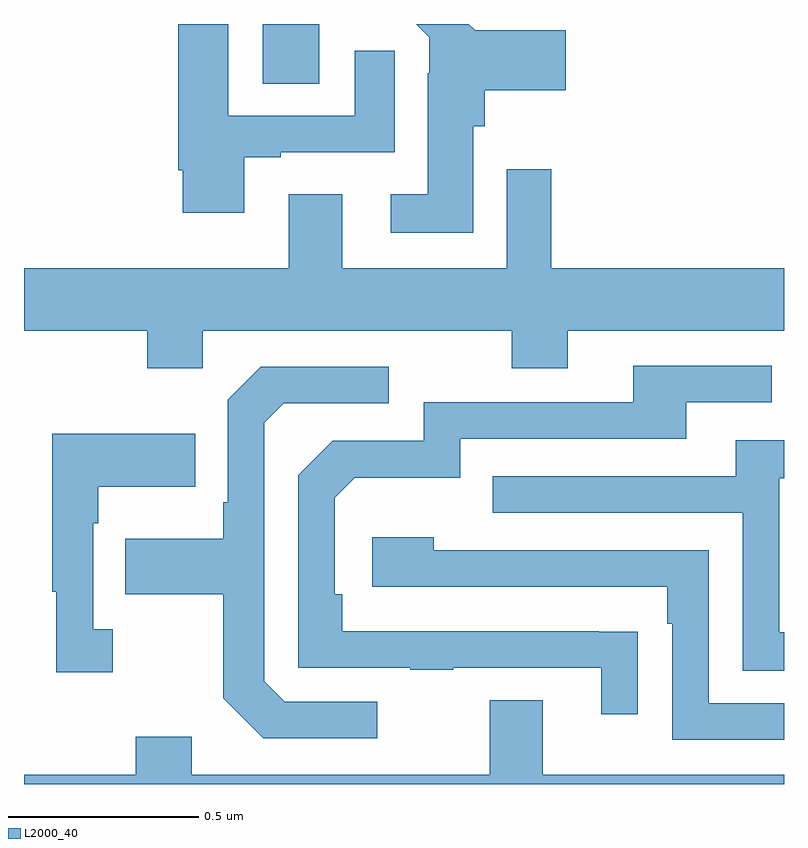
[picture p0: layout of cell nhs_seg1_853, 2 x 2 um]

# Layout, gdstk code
import gdstk
lib = gdstk.Library(unit=1e-6, precision=1e-09)
def R(c, l, rs):  # rectangles x0, y0, x1, y1
    for r in rs: c.add(gdstk.rectangle(r[:2], r[2:], *l))
def P(c, l, *ps):  # polygons
    for p in ps: c.add(gdstk.Polygon(p, *l))
L2000_40 = (2000, 40)

nhs_seg1_853 = lib.new_cell('nhs_seg1_853')
R(nhs_seg1_853, L2000_40, [(121.628,559.042,121.777,559.199)])
P(nhs_seg1_853, L2000_40, [(122.182,558.93),(122.213,558.93),(122.213,559.025),(122.425,559.025),(122.425,559.183),(122.187,559.183),(122.171,559.199),(122.032,559.199),(122.067,559.164),(122.067,559.07),(122.063,559.07),(122.063,558.751),(121.965,558.751),(121.965,558.65),(122.182,558.65)],
  [(121.579,558.849),(121.675,558.849),(121.675,558.861),(121.975,558.861),(121.975,559.129),(121.871,559.129),(121.871,558.957),(121.537,558.957),(121.537,559.199),(121.406,559.199),(121.406,558.814),(121.418,558.814),(121.418,558.702),(121.579,558.702)],
  [(121.47,558.392),(122.284,558.392),(122.284,558.293),(122.431,558.293),(122.431,558.392),(123,558.392),(123,558.556),(122.387,558.556),(122.387,558.817),(122.271,558.817),(122.271,558.556),(121.837,558.556),(121.837,558.751),(121.697,558.751),(121.697,558.556),(121,558.556),(121,558.392),(121.324,558.392),(121.324,558.293),(121.47,558.293)],
  [(122.615,557.6),(122.513,557.6),(122.513,557.601),(121.838,557.601),(121.838,557.698),(121.818,557.698),(121.818,557.952),(121.871,558.005),(122.148,558.005),(122.148,558.108),(122.743,558.108),(122.743,558.204),(122.968,558.204),(122.968,558.3),(122.603,558.3),(122.603,558.204),(122.052,558.204),(122.052,558.102),(121.812,558.102),(121.722,558.012),(121.722,557.505),(122.017,557.505),(122.017,557.5),(122.129,557.5),(122.129,557.505),(122.519,557.505),(122.519,557.382),(122.615,557.382)],
  [(121.93,557.415),(121.686,557.415),(121.632,557.469),(121.632,558.15),(121.683,558.201),(121.96,558.201),(121.96,558.297),(121.623,558.297),(121.536,558.21),(121.536,557.941),(121.524,557.941),(121.524,557.845),(121.267,557.845),(121.267,557.698),(121.524,557.698),(121.524,557.425),(121.629,557.319),(121.93,557.319)],
  [(121.234,557.606),(121.182,557.606),(121.182,557.885),(121.195,557.885),(121.195,557.981),(121.451,557.981),(121.451,558.121),(121.074,558.121),(121.074,557.705),(121.085,557.705),(121.085,557.493),(121.234,557.493)],
  [(123,557.598),(122.988,557.598),(122.988,558.003),(123,558.003),(123,558.103),(122.873,558.103),(122.873,558.009),(122.233,558.009),(122.233,557.913),(122.892,557.913),(122.892,557.497),(123,557.497)],
  [(123,557.412),(122.802,557.412),(122.802,557.814),(122.078,557.814),(122.078,557.848),(121.917,557.848),(121.917,557.718),(122.693,557.718),(122.693,557.621),(122.706,557.621),(122.706,557.316),(123,557.316)],
  [(123,557.224),(122.365,557.224),(122.365,557.419),(122.225,557.419),(122.225,557.224),(121.441,557.224),(121.441,557.323),(121.294,557.323),(121.294,557.224),(121,557.224),(121,557.199),(123,557.199)])

lib.write_gds('nhs_seg1_853.gds')
